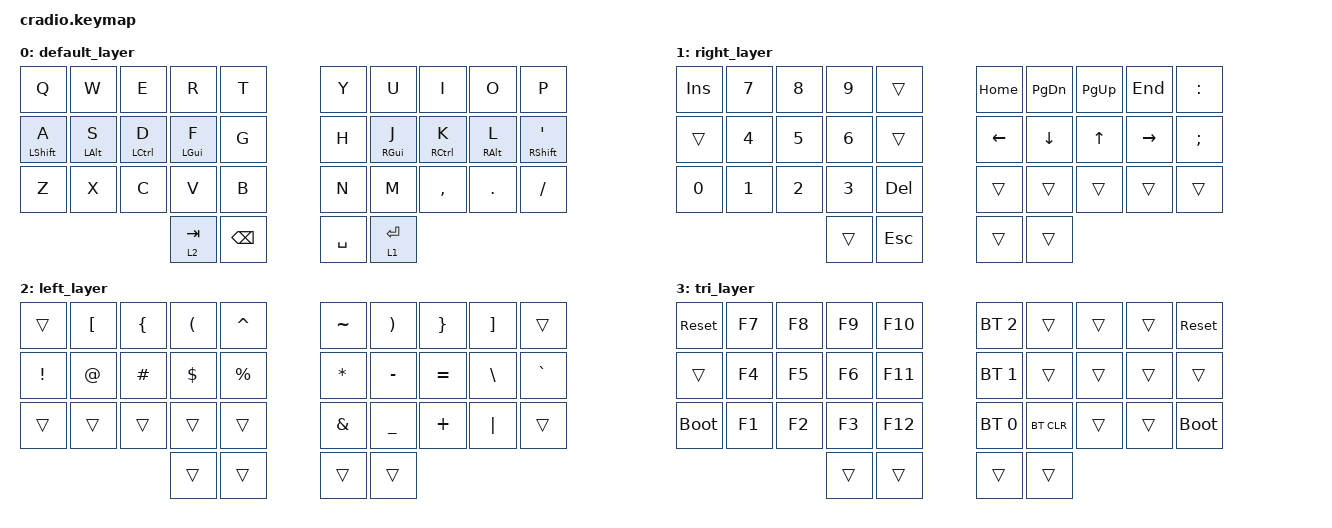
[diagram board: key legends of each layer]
// Copyright (c) 2022 The ZMK Contributors
// SPDX-License-Identifier: MIT

#include <behaviors.dtsi>
#include <dt-bindings/zmk/bt.h>
#include <dt-bindings/zmk/keys.h>

/ {
    behaviors {
        ht: hold_tap {
            compatible = "zmk,behavior-hold-tap";
            #binding-cells = <2>;
            flavor = "tap-preferred";
            tapping-term-ms = <220>;
            quick-tap-ms = <150>;
            require-prior-idle-ms = <100>;
            bindings = <&kp>, <&kp>;
        };
    };

    conditional_layers {
        compatible = "zmk,conditional-layers";

        tri_layer {
            if-layers = <1 2>;
            then-layer = <3>;
        };
    };

    combos { compatible = "zmk,combos"; };

    keymap {
        compatible = "zmk,keymap";

        default_layer {
            bindings = <
&kp Q        &kp W       &kp E        &kp R       &kp T       &kp Y      &kp U        &kp I        &kp O       &kp P
&ht LSHFT A  &ht LALT S  &ht LCTRL D  &ht LGUI F  &kp G       &kp H      &ht RGUI J   &ht RCTRL K  &ht RALT L  &ht RSHFT SQT
&kp Z        &kp X       &kp C        &kp V       &kp B       &kp N      &kp M        &kp COMMA    &kp DOT     &kp FSLH
                                      &lt 2 TAB   &kp BSPC    &kp SPACE  &lt 1 ENTER
            >;
        };

        right_layer {
            bindings = <
&kp INS  &kp N7  &kp N8  &kp N9  &trans        &kp HOME  &kp PG_DN  &kp PG_UP  &kp END    &kp COLON
&trans   &kp N4  &kp N5  &kp N6  &trans        &kp LEFT  &kp DOWN   &kp UP     &kp RIGHT  &kp SEMI
&kp N0   &kp N1  &kp N2  &kp N3  &kp DELETE    &trans    &trans     &trans     &trans     &trans
                         &trans  &kp ESC       &trans    &trans
            >;
        };

        left_layer {
            bindings = <
&trans    &kp LBKT  &kp LBRC  &kp LPAR  &kp CARET    &kp TILDE  &kp RPAR   &kp RBRC   &kp RBKT  &trans
&kp EXCL  &kp AT    &kp HASH  &kp DLLR  &kp PRCNT    &kp ASTRK  &kp MINUS  &kp EQUAL  &kp BSLH  &kp GRAVE
&trans    &trans    &trans    &trans    &trans       &kp AMPS   &kp UNDER  &kp PLUS   &kp PIPE  &trans
                              &trans    &trans       &trans     &trans
            >;
        };

        tri_layer {
            bindings = <
&sys_reset   &kp F7  &kp F8  &kp F9  &kp F10    &bt BT_SEL 2  &trans      &trans  &trans  &sys_reset
&trans       &kp F4  &kp F5  &kp F6  &kp F11    &bt BT_SEL 1  &trans      &trans  &trans  &trans
&bootloader  &kp F1  &kp F2  &kp F3  &kp F12    &bt BT_SEL 0  &bt BT_CLR  &trans  &trans  &bootloader
                             &trans  &trans     &trans        &trans
            >;
        };
    };
};
